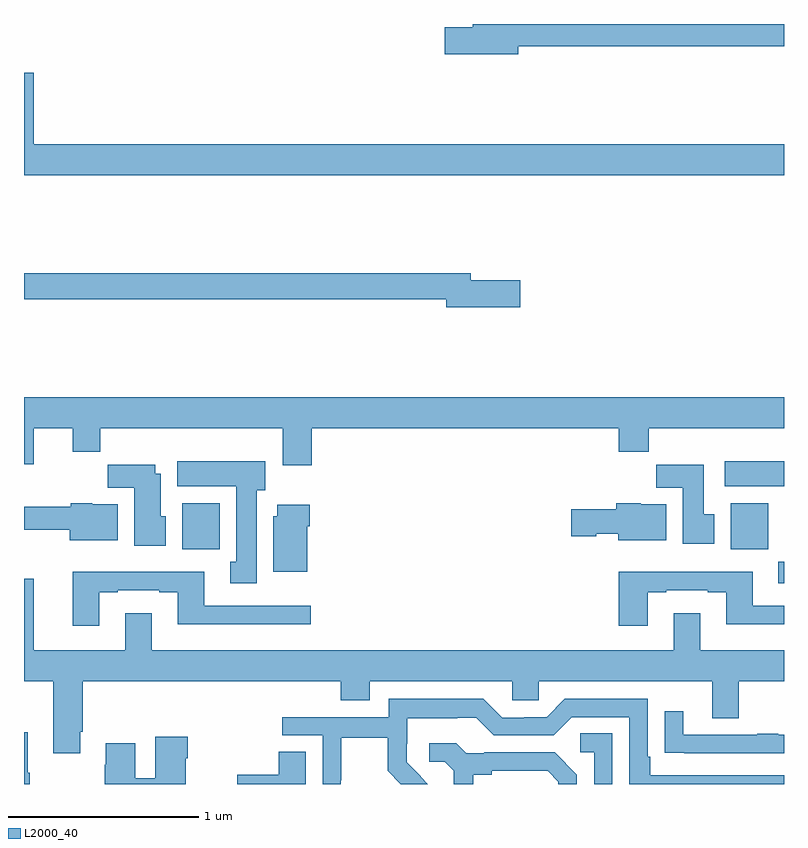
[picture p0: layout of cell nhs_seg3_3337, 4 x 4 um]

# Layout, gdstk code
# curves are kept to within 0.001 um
import gdstk
lib = gdstk.Library(unit=1e-6, precision=1e-09)
def R(c, l, rs):  # rectangles x0, y0, x1, y1
    for r in rs: c.add(gdstk.rectangle(r[:2], r[2:], *l))
def P(c, l, *ps):  # polygons
    for p in ps: c.add(gdstk.Polygon(p, *l))
L2000_40 = (2000, 40)

nhs_seg3_3337 = lib.new_cell('nhs_seg3_3337')
R(nhs_seg3_3337, L2000_40, [(288.971,677.457,289,677.57), (285.833,677.636,286.03,677.878), (288.719,677.636,288.916,677.878), (288.687,677.966,289,678.1)])
P(nhs_seg3_3337, L2000_40, [(287.602,680.284),(289,680.284),(289,680.4),(287.363,680.4),(287.363,680.384),(287.214,680.384),(287.214,680.242),(287.602,680.242)],
  [(289,679.768),(285.052,679.768),(285.052,680.143),(285,680.143),(285,679.604),(289,679.604)],
  [(287.611,679.052),(287.35,679.052),(287.35,679.088),(285,679.088),(285,678.952),(287.222,678.952),(287.222,678.91),(287.611,678.91)],
  [(286.514,678.272),(288.131,678.272),(288.131,678.148),(288.287,678.148),(288.287,678.272),(289,678.272),(289,678.436),(285,678.436),(285,678.084),(285.052,678.084),(285.052,678.272),(285.257,678.272),(285.257,678.148),(285.401,678.148),(285.401,678.272),(286.361,678.272),(286.361,678.078),(286.514,678.078)],
  [(286.225,677.946),(286.27,677.946),(286.27,678.1),(285.806,678.1),(285.806,677.966),(286.118,677.966),(286.118,677.57),(286.085,677.57),(286.085,677.457),(286.225,677.457)],
  [(288.634,677.82),(288.577,677.82),(288.577,678.079),(288.328,678.079),(288.328,677.96),(288.467,677.96),(288.467,677.664),(288.634,677.664)],
  [(285.745,677.808),(285.721,677.808),(285.721,678.034),(285.691,678.034),(285.691,678.079),(285.442,678.079),(285.442,677.96),(285.581,677.96),(285.581,677.654),(285.745,677.654)],
  [(285.493,677.872),(285.36,677.872),(285.36,677.878),(285.246,677.878),(285.246,677.86),(285,677.86),(285,677.738),(285.242,677.738),(285.242,677.684),(285.493,677.684)],
  [(288.379,677.872),(288.246,677.872),(288.246,677.878),(288.116,677.878),(288.116,677.847),(287.88,677.847),(287.88,677.705),(288.012,677.705),(288.012,677.717),(288.128,677.717),(288.128,677.684),(288.379,677.684)],
  [(286.492,677.756),(286.505,677.756),(286.505,677.869),(286.334,677.869),(286.334,677.808),(286.313,677.808),(286.313,677.516),(286.492,677.516)],
  [(285.397,677.409),(285.493,677.409),(285.493,677.421),(285.713,677.421),(285.713,677.409),(285.809,677.409),(285.809,677.24),(286.51,677.24),(286.51,677.337),(285.949,677.337),(285.949,677.518),(285.257,677.518),(285.257,677.232),(285.397,677.232)],
  [(288.283,677.409),(288.379,677.409),(288.379,677.421),(288.599,677.421),(288.599,677.409),(288.695,677.409),(288.695,677.24),(289,677.24),(289,677.337),(288.835,677.337),(288.835,677.518),(288.131,677.518),(288.131,677.232),(288.283,677.232)],
  [(285.295,676.675),(285.308,676.675),(285.308,676.94),(286.667,676.94),(286.667,676.841),(286.819,676.841),(286.819,676.94),(287.571,676.94),(287.571,676.842),(287.709,676.842),(287.709,676.94),(288.623,676.94),(288.623,676.746),(288.763,676.746),(288.763,676.94),(289,676.94),(289,677.104),(288.559,677.104),(288.559,677.299),(288.419,677.299),(288.419,677.104),(285.673,677.104),(285.673,677.299),(285.533,677.299),(285.533,677.104),(285.052,677.104),(285.052,677.479),(285,677.479),(285,676.94),(285.155,676.94),(285.155,676.563),(285.295,676.563)],
  [(286.668,676.42),(286.671,676.42),(286.671,676.644),(286.915,676.644),(286.915,676.469),(286.984,676.4),(287.126,676.4),(287.014,676.514),(287.014,676.611),(287.016,676.611),(287.016,676.745),(287.279,676.745),(287.279,676.749),(287.379,676.749),(287.472,676.656),(287.787,676.656),(287.883,676.752),(288.186,676.752),(288.186,676.4),(289,676.4),(289,676.446),(288.295,676.446),(288.295,676.543),(288.282,676.543),(288.282,676.848),(287.847,676.848),(287.751,676.752),(287.633,676.752),(287.633,676.749),(287.517,676.749),(287.417,676.849),(286.92,676.849),(286.92,676.752),(286.359,676.752),(286.359,676.656),(286.572,676.656),(286.572,676.4),(286.668,676.4)],
  [(289,676.659),(288.971,676.659),(288.971,676.664),(288.859,676.664),(288.859,676.659),(288.469,676.659),(288.469,676.783),(288.373,676.783),(288.373,676.564),(288.475,676.564),(288.475,676.563),(289,676.563)],
  [(285.031,676.459),(285.019,676.459),(285.019,676.672),(285,676.672),(285,676.4),(285.031,676.4)],
  [(288.096,676.667),(287.928,676.667),(287.928,676.566),(288,676.566),(288,676.4),(288.096,676.4)],
  [(285.85,676.535),(285.863,676.535),(285.863,676.648),(285.692,676.648),(285.692,676.43),(285.586,676.43),(285.586,676.615),(285.431,676.615),(285.431,676.502),(285.424,676.502),(285.424,676.4),(285.85,676.4)],
  [(287.365,676.448),(287.461,676.448),(287.461,676.47),(287.756,676.47),(287.813,676.413),(287.813,676.4),(287.91,676.4),(287.91,676.45),(287.794,676.566),(287.422,676.566),(287.422,676.563),(287.328,676.563),(287.276,676.615),(287.133,676.615),(287.133,676.518),(287.214,676.518),(287.261,676.471),(287.261,676.4),(287.365,676.4)],
  [(286.483,676.571),(286.34,676.571),(286.34,676.448),(286.122,676.448),(286.122,676.4),(286.483,676.4)])

lib.write_gds('nhs_seg3_3337.gds')
